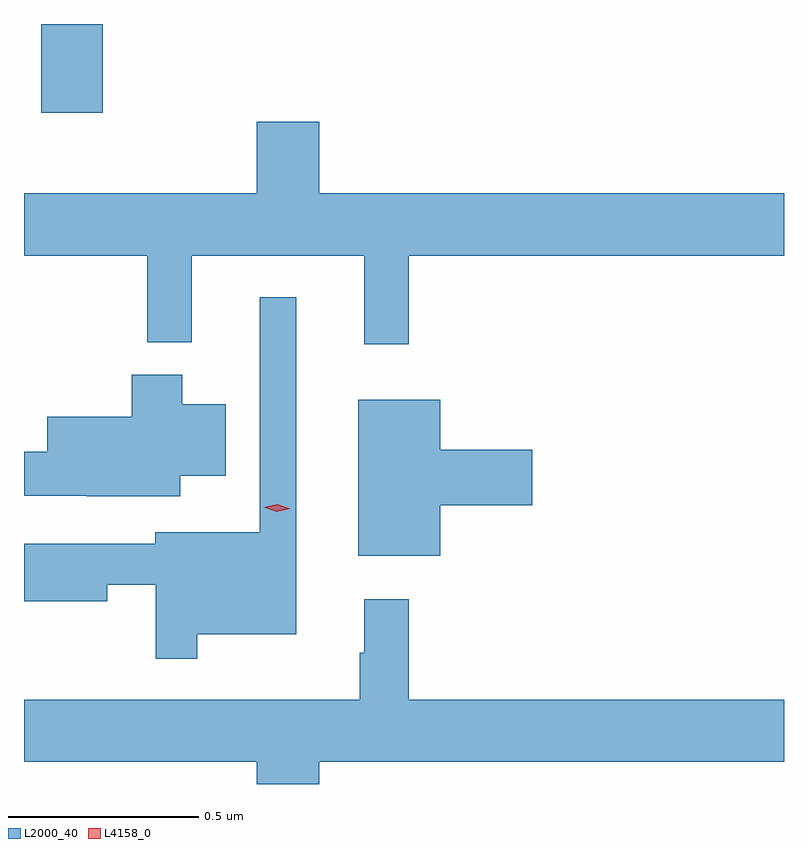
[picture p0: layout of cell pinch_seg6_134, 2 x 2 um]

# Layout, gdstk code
import gdstk
lib = gdstk.Library(unit=1e-6, precision=1e-09)
def R(c, l, rs):  # rectangles x0, y0, x1, y1
    for r in rs: c.add(gdstk.rectangle(r[:2], r[2:], *l))
def P(c, l, *ps):  # polygons
    for p in ps: c.add(gdstk.Polygon(p, *l))
L2000_40 = (2000, 40)
L4158_0 = (4158, 0)

pinch_seg6_134 = lib.new_cell('pinch_seg6_134')
R(pinch_seg6_134, L2000_40, [(991.613,926.4,991.774,926.634)])
P(pinch_seg6_134, L2000_40, [(992.579,926.024),(993.567,926.024),(993.567,926.188),(992.344,926.188),(992.344,926.377),(992.18,926.377),(992.18,926.188),(991.567,926.188),(991.567,926.024),(991.891,926.024),(991.891,925.796),(992.009,925.796),(992.009,926.024),(992.462,926.024),(992.462,925.791),(992.579,925.791)],
  [(992.023,925.028),(992.284,925.028),(992.284,925.915),(992.187,925.915),(992.187,925.297),(991.913,925.297),(991.913,925.266),(991.567,925.266),(991.567,925.115),(991.786,925.115),(991.786,925.158),(991.914,925.158),(991.914,924.963),(992.023,924.963)],
  [(991.978,925.445),(992.098,925.445),(992.098,925.633),(991.984,925.633),(991.984,925.711),(991.85,925.711),(991.85,925.6),(991.628,925.6),(991.628,925.508),(991.567,925.508),(991.567,925.392),(991.732,925.392),(991.732,925.391),(991.978,925.391)],
  [(992.662,925.367),(992.905,925.367),(992.905,925.514),(992.662,925.514),(992.662,925.645),(992.447,925.645),(992.447,925.235),(992.662,925.235)],
  [(992.344,924.692),(993.567,924.692),(993.567,924.856),(992.579,924.856),(992.579,925.12),(992.462,925.12),(992.462,924.98),(992.451,924.98),(992.451,924.856),(991.567,924.856),(991.567,924.692),(992.18,924.692),(992.18,924.634),(992.344,924.634)])
P(pinch_seg6_134, L4158_0, [(992.232,925.35),(992.198,925.362),(992.197,925.362),(992.198,925.362),(992.233,925.37),(992.268,925.359),(992.268,925.359),(992.268,925.359)])

lib.write_gds('pinch_seg6_134.gds')
